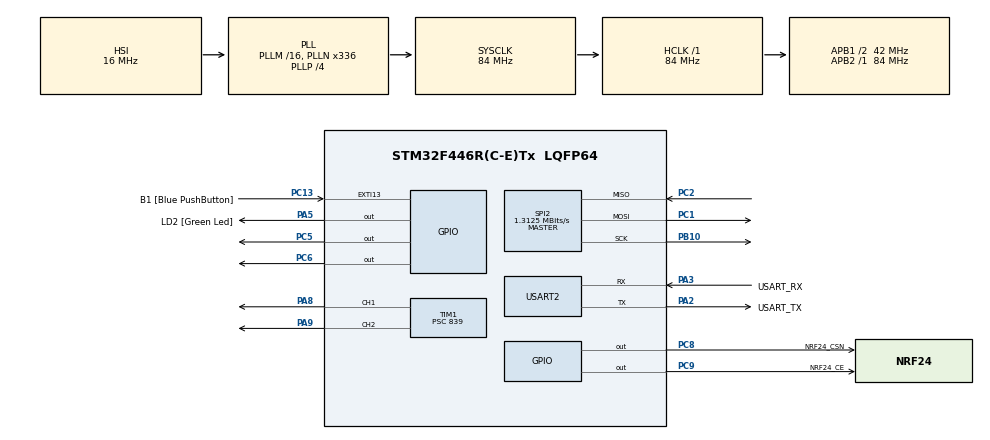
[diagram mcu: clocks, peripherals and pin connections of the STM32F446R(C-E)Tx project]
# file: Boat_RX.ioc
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Mcu.Family=STM32F4
Mcu.Name=STM32F446R(C-E)Tx
Mcu.Package=LQFP64
NVIC.PriorityGroup=NVIC_PRIORITYGROUP_0
PA13.GPIO_Label=TMS
PA13.Mode=Serial_Wire
PA13.Signal=SYS_JTMS-SWDIO
PA14.GPIO_Label=TCK
PA14.Mode=Serial_Wire
PA14.Signal=SYS_JTCK-SWCLK
PA2.GPIO_Label=USART_TX
PA2.Mode=Asynchronous
PA2.Signal=USART2_TX
PA3.GPIO_Label=USART_RX
PA3.Mode=Asynchronous
PA3.Signal=USART2_RX
PA5.GPIO_Label=LD2 [Green Led]
PA5.Signal=GPIO_Output
PA8.Signal=S_TIM1_CH1
PA9.Signal=S_TIM1_CH2
PB10.Mode=Full_Duplex_Master
PB10.Signal=SPI2_SCK
PB3.GPIO_Label=SWO
PB3.Signal=SYS_JTDO-SWO
PC1.Mode=Full_Duplex_Master
PC1.Signal=SPI2_MOSI
PC13.GPIO_Label=B1 [Blue PushButton]
PC13.GPIO_ModeDefaultEXTI=GPIO_MODE_IT_FALLING
PC13.Signal=GPXTI13
PC14-OSC32_IN.Mode=LSE-External-Oscillator
PC14-OSC32_IN.Signal=RCC_OSC32_IN
PC15-OSC32_OUT.Mode=LSE-External-Oscillator
PC15-OSC32_OUT.Signal=RCC_OSC32_OUT
PC2.Mode=Full_Duplex_Master
PC2.Signal=SPI2_MISO
PC5.Signal=GPIO_Output
PC6.Signal=GPIO_Output
PC8.GPIO_Label=NRF24_CSN
PC8.Signal=GPIO_Output
PC9.GPIO_Label=NRF24_CE
PC9.Signal=GPIO_Output
PH0-OSC_IN.Mode=HSE-External-Oscillator
PH0-OSC_IN.Signal=RCC_OSC_IN
PH1-OSC_OUT.Mode=HSE-External-Oscillator
PH1-OSC_OUT.Signal=RCC_OSC_OUT
ProjectManager.HeapSize=0x200
ProjectManager.StackSize=0x400
ProjectManager.TargetToolchain=STM32CubeIDE
RCC.48MHZClocksFreq_Value=84000000
RCC.AHBFreq_Value=84000000
RCC.APB1CLKDivider=RCC_HCLK_DIV2
RCC.APB1Freq_Value=42000000
RCC.APB1TimFreq_Value=84000000
RCC.APB2Freq_Value=84000000
RCC.APB2TimFreq_Value=84000000
RCC.CortexFreq_Value=84000000
RCC.FLatency-AdvancedSettings=FLASH_LATENCY_2
RCC.HCLKFreq_Value=84000000
RCC.HSE_VALUE=8000000
RCC.HSI_VALUE=16000000
RCC.PLLN=336
RCC.PLLP=RCC_PLLP_DIV4
RCC.SYSCLKFreq_VALUE=84000000
RCC.SYSCLKSource=RCC_SYSCLKSOURCE_PLLCLK
RCC.USBFreq_Value=168000000
RCC.VCOOutputFreq_Value=336000000
SH.S_TIM1_CH1.0=TIM1_CH1,PWM Generation1 CH1
SH.S_TIM1_CH2.0=TIM1_CH2,PWM Generation2 CH2
SPI2.BaudRatePrescaler=SPI_BAUDRATEPRESCALER_32
SPI2.CalculateBaudRate=1.3125 MBits/s
SPI2.Direction=SPI_DIRECTION_2LINES
SPI2.Mode=SPI_MODE_MASTER
SPI2.VirtualType=VM_MASTER
TIM1.Channel-PWM\ Generation1\ CH1=TIM_CHANNEL_1
TIM1.Channel-PWM\ Generation2\ CH2=TIM_CHANNEL_2
TIM1.Period=99
TIM1.Prescaler=839
USART2.VirtualMode=VM_ASYNC
VP_TIM1_VS_ClockSourceINT.Mode=Internal
board=NUCLEO-F446RE

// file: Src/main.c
/* USER CODE BEGIN Header */
/**
  ******************************************************************************
  * @file           : main.c
  * @brief          : Main program body
  ******************************************************************************
  * @attention
  *
  * <h2><center>&copy; Copyright (c) 2020 STMicroelectronics.
  * All rights reserved.</center></h2>
  *
  * This software component is licensed by ST under BSD 3-Clause license,
  * the "License"; You may not use this file except in compliance with the
  * License. You may obtain a copy of the License at:
  *                        opensource.org/licenses/BSD-3-Clause
  *
  ******************************************************************************
  */
/* USER CODE END Header */

#include "main.h"
#include "spi.h"
#include "tim.h"
#include "usart.h"
#include "gpio.h"

/* USER CODE BEGIN Includes */
#include "NRF24.h"
/* USER CODE END Includes */

/* USER CODE BEGIN PD */
#define IDLE_STATE 50
/* USER CODE END PD */

/* USER CODE BEGIN PV */
static const uint64_t rx_pipe_addr = 0x11223344AA;
static uint8_t my_rx_data[MAX_PAYLOAD_SIZE + 2];
/* USER CODE END PV */

void SystemClock_Config(void);

int main(void)
{

  /* MCU Configuration--------------------------------------------------------*/

  /* Reset of all peripherals, Initializes the Flash interface and the Systick. */
  HAL_Init();

  /* Configure the system clock */
  SystemClock_Config();

  /* Initialize all configured peripherals */
  MX_GPIO_Init();
  MX_USART2_UART_Init();
  MX_SPI2_Init();
  MX_TIM1_Init();
  /* USER CODE BEGIN 2 */
  NRF24_init(&hspi2);

  HAL_TIM_PWM_Start(&htim1, TIM_CHANNEL_1);
  HAL_TIM_PWM_Start(&htim1, TIM_CHANNEL_2);

  HAL_GPIO_WritePin(GPIOC, GPIO_PIN_5, GPIO_PIN_RESET);
  HAL_GPIO_WritePin(GPIOC, GPIO_PIN_6, GPIO_PIN_RESET);

  TIM1->CCR1 = 0;
  TIM1->CCR2 = 0;

  NRF24_openReadingPipe(1, rx_pipe_addr);
  NRF24_startListening();

  uint32_t watchdog = HAL_GetTick();
  uint8_t error_msg[] = "Connection Lost\r\n";
  const uint32_t timeout = 1400;
  /* USER CODE END 2 */

  /* Infinite loop */
  /* USER CODE BEGIN WHILE */
  while (1)
  {
	  if(NRF24_available()){
		  NRF24_read(my_rx_data, PAYLOAD_SIZE);

		  my_rx_data[PAYLOAD_SIZE] = '\r';
		  my_rx_data[PAYLOAD_SIZE + 1] = '\n';
		  HAL_UART_Transmit(&huart2, my_rx_data, PAYLOAD_SIZE + 2, 100);

		  if((my_rx_data[0] >= 40) && (my_rx_data[0] <= 60)){
		  		// IDLE STATE - STOP
		  		HAL_GPIO_WritePin(GPIOC, GPIO_PIN_5, GPIO_PIN_RESET);
		  		HAL_GPIO_WritePin(GPIOC, GPIO_PIN_6, GPIO_PIN_RESET);
		  		TIM1->CCR1 = 0;
		  		TIM1->CCR2 = 0;
		  	}
		  	else if((my_rx_data[0] >= 0) && (my_rx_data[0] < 40)){
		  		// SAIL BACKWARD
		  		HAL_GPIO_WritePin(GPIOC, GPIO_PIN_5, GPIO_PIN_RESET);
		  		HAL_GPIO_WritePin(GPIOC, GPIO_PIN_6, GPIO_PIN_SET);
		  		if((my_rx_data[1] >= 40) && (my_rx_data[1] <= 60)){
		  			// SAIL STRAIGHT
		  			TIM1->CCR1 = my_rx_data[0];
		  			TIM1->CCR2 = my_rx_data[0];
		  		}
		  		else if((my_rx_data[1] >= 0) && (my_rx_data[1] < 20)){
		  			// SAIL FULL LEFT
		  			TIM1->CCR1 = my_rx_data[0];
		  			TIM1->CCR2 = 0;
		  		}
		  		else if((my_rx_data[1] >= 20) && (my_rx_data[1] < 40)){
		  			// SAIL HALF LEFT
		  			TIM1->CCR1 = my_rx_data[0];
		  			TIM1->CCR2 = (uint8_t)(my_rx_data[0] / 2.0);
		  		}
		  		else if((my_rx_data[1] > 80) && (my_rx_data[1] <= 100)){
		  			// SAIL FULL RIGHT
		  			TIM1->CCR1 = 0;
		  			TIM1->CCR2 = my_rx_data[0];
		  		}
		  		else if((my_rx_data[1] > 60) && (my_rx_data[1] <= 80)){
		  			// SAIL HALF RIGHT
		  			TIM1->CCR1 = (uint8_t)(my_rx_data[0] / 2.0);
		  			TIM1->CCR2 = my_rx_data[0];
		  		}
		  	}
		  	else if((my_rx_data[0] > 60) && (my_rx_data[0] <= 100)){
		  		// SAIL FORWARD
		  		HAL_GPIO_WritePin(GPIOC, GPIO_PIN_5, GPIO_PIN_SET);
		  		HAL_GPIO_WritePin(GPIOC, GPIO_PIN_6, GPIO_PIN_RESET);
		  		if((my_rx_data[1] >= 40) && (my_rx_data[1] <= 60)){
		  			// SAIL STRAIGHT
		  			TIM1->CCR1 = my_rx_data[0];
		  			TIM1->CCR2 = my_rx_data[0];
		  		}
		  		else if((my_rx_data[1] >= 0) && (my_rx_data[1] < 20)){
		  			// SAIL FULL LEFT
		  			TIM1->CCR1 = 0;
		  			TIM1->CCR2 = my_rx_data[0];
		  		}
		  		else if((my_rx_data[1] >= 20) && (my_rx_data[1] < 40)){
		  			// SAIL HALF LEFT
		  			TIM1->CCR1 = (uint8_t)(my_rx_data[0] / 2.0);
		  			TIM1->CCR2 = my_rx_data[0];
		  		}
		  		else if((my_rx_data[1] > 80) && (my_rx_data[1] <= 100)){
		  			// SAIL FULL RIGHT
		  			TIM1->CCR1 = my_rx_data[0];
		  			TIM1->CCR2 = 0;
		  		}
		  		else if((my_rx_data[1] > 60) && (my_rx_data[1] <= 80)){
		  			// SAIL HALF RIGHT
		  			TIM1->CCR1 = my_rx_data[0];
		  			TIM1->CCR2 = (uint8_t)(my_rx_data[0] / 2.0);
		  		}
		  	}

		  watchdog = HAL_GetTick();
	  }
	  else if((HAL_GetTick() - watchdog) > timeout ){
		  my_rx_data[0] = IDLE_STATE;
		  my_rx_data[1] = IDLE_STATE;
		  HAL_UART_Transmit(&huart2, error_msg, sizeof(error_msg), 100);

		  HAL_Delay(100);
	  }
    /* USER CODE END WHILE */

  }
}

void SystemClock_Config(void)
{
  RCC_OscInitTypeDef RCC_OscInitStruct = {0};
  RCC_ClkInitTypeDef RCC_ClkInitStruct = {0};

  /** Configure the main internal regulator output voltage
  */
  __HAL_RCC_PWR_CLK_ENABLE();
  __HAL_PWR_VOLTAGESCALING_CONFIG(PWR_REGULATOR_VOLTAGE_SCALE3);
  /** Initializes the CPU, AHB and APB busses clocks
  */
  RCC_OscInitStruct.OscillatorType = RCC_OSCILLATORTYPE_HSI;
  RCC_OscInitStruct.HSIState = RCC_HSI_ON;
  RCC_OscInitStruct.HSICalibrationValue = RCC_HSICALIBRATION_DEFAULT;
  RCC_OscInitStruct.PLL.PLLState = RCC_PLL_ON;
  RCC_OscInitStruct.PLL.PLLSource = RCC_PLLSOURCE_HSI;
  RCC_OscInitStruct.PLL.PLLM = 16;
  RCC_OscInitStruct.PLL.PLLN = 336;
  RCC_OscInitStruct.PLL.PLLP = RCC_PLLP_DIV4;
  RCC_OscInitStruct.PLL.PLLQ = 2;
  RCC_OscInitStruct.PLL.PLLR = 2;
  if (HAL_RCC_OscConfig(&RCC_OscInitStruct) != HAL_OK)
  {
    Error_Handler();
  }
  /** Initializes the CPU, AHB and APB busses clocks
  */
  RCC_ClkInitStruct.ClockType = RCC_CLOCKTYPE_HCLK|RCC_CLOCKTYPE_SYSCLK
                              |RCC_CLOCKTYPE_PCLK1|RCC_CLOCKTYPE_PCLK2;
  RCC_ClkInitStruct.SYSCLKSource = RCC_SYSCLKSOURCE_PLLCLK;
  RCC_ClkInitStruct.AHBCLKDivider = RCC_SYSCLK_DIV1;
  RCC_ClkInitStruct.APB1CLKDivider = RCC_HCLK_DIV2;
  RCC_ClkInitStruct.APB2CLKDivider = RCC_HCLK_DIV1;

  if (HAL_RCC_ClockConfig(&RCC_ClkInitStruct, FLASH_LATENCY_2) != HAL_OK)
  {
    Error_Handler();
  }
}

void Error_Handler(void)
{
}

/************************ (C) COPYRIGHT STMicroelectronics *****END OF FILE****/
